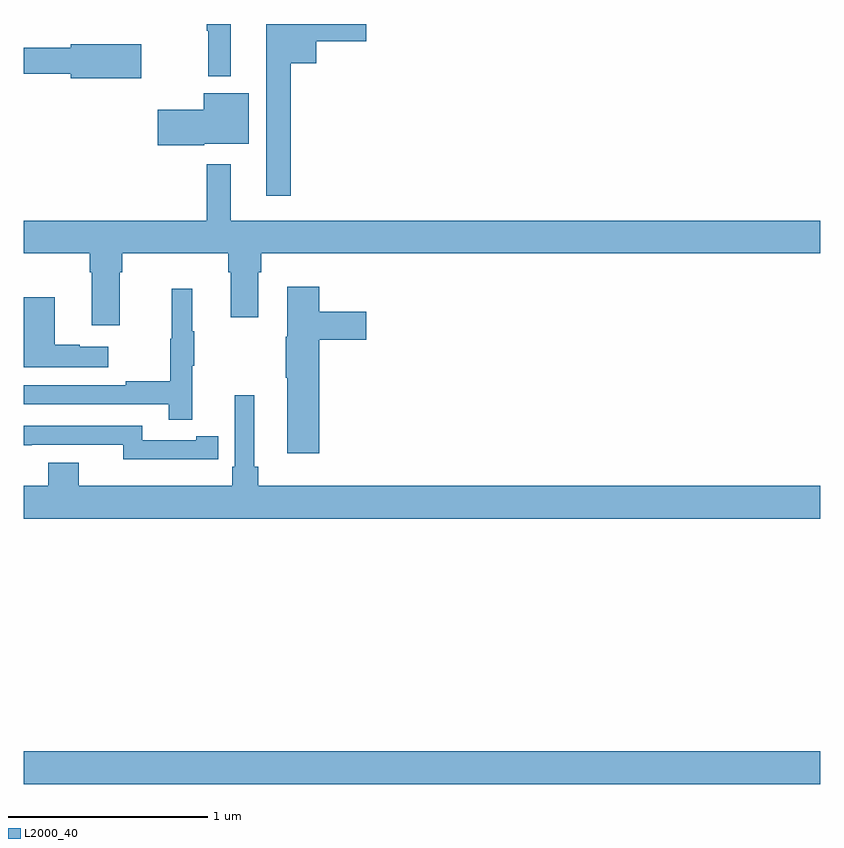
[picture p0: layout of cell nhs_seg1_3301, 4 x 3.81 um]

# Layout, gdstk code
import gdstk
lib = gdstk.Library(unit=1e-6, precision=1e-09)
def R(c, l, rs):  # rectangles x0, y0, x1, y1
    for r in rs: c.add(gdstk.rectangle(r[:2], r[2:], *l))
def P(c, l, *ps):  # polygons
    for p in ps: c.add(gdstk.Polygon(p, *l))
L2000_40 = (2000, 40)

nhs_seg1_3301 = lib.new_cell('nhs_seg1_3301')
R(nhs_seg1_3301, L2000_40, [(289,566.384,293,566.548)])
P(nhs_seg1_3301, L2000_40, [(290.041,570.199),(289.92,570.199),(289.92,570.164),(289.927,570.164),(289.927,569.936),(290.041,569.936)],
  [(290.341,570.002),(290.47,570.002),(290.47,570.113),(290.719,570.113),(290.719,570.199),(290.219,570.199),(290.219,569.337),(290.341,569.337)],
  [(289.591,570.097),(289.238,570.097),(289.238,570.079),(289,570.079),(289,569.95),(289.238,569.95),(289.238,569.927),(289.591,569.927)],
  [(289.908,569.597),(290.131,569.597),(290.131,569.851),(289.904,569.851),(289.904,569.768),(289.674,569.768),(289.674,569.59),(289.908,569.59)],
  [(289.483,568.952),(289.496,568.952),(289.496,569.048),(290.027,569.048),(290.027,568.952),(290.039,568.952),(290.039,568.728),(290.179,568.728),(290.179,568.952),(290.192,568.952),(290.192,569.048),(293,569.048),(293,569.212),(290.041,569.212),(290.041,569.494),(289.92,569.494),(289.92,569.212),(289,569.212),(289,569.048),(289.331,569.048),(289.331,568.952),(289.343,568.952),(289.343,568.686),(289.483,568.686)],
  [(290.483,568.613),(290.719,568.613),(290.719,568.755),(290.483,568.755),(290.483,568.879),(290.324,568.879),(290.324,568.629),(290.317,568.629),(290.317,568.423),(290.324,568.423),(290.324,568.044),(290.483,568.044)],
  [(289.847,568.483),(289.858,568.483),(289.858,568.657),(289.847,568.657),(289.847,568.87),(289.744,568.87),(289.744,568.62),(289.737,568.62),(289.737,568.406),(289.513,568.406),(289.513,568.386),(289,568.386),(289,568.29),(289.729,568.29),(289.729,568.212),(289.847,568.212)],
  [(289.426,568.579),(289.283,568.579),(289.283,568.589),(289.156,568.589),(289.156,568.828),(289,568.828),(289,568.475),(289.426,568.475)],
  [(293,567.88),(290.177,567.88),(290.177,567.976),(290.158,567.976),(290.158,568.336),(290.061,568.336),(290.061,567.976),(290.048,567.976),(290.048,567.88),(289.276,567.88),(289.276,567.997),(289.124,567.997),(289.124,567.88),(289,567.88),(289,567.716),(293,567.716)],
  [(289.868,568.014),(289.976,568.014),(289.976,568.13),(289.868,568.13),(289.868,568.11),(289.596,568.11),(289.596,568.182),(289,568.182),(289,568.085),(289.04,568.085),(289.04,568.086),(289.5,568.086),(289.5,568.013),(289.868,568.013)])

lib.write_gds('nhs_seg1_3301.gds')
